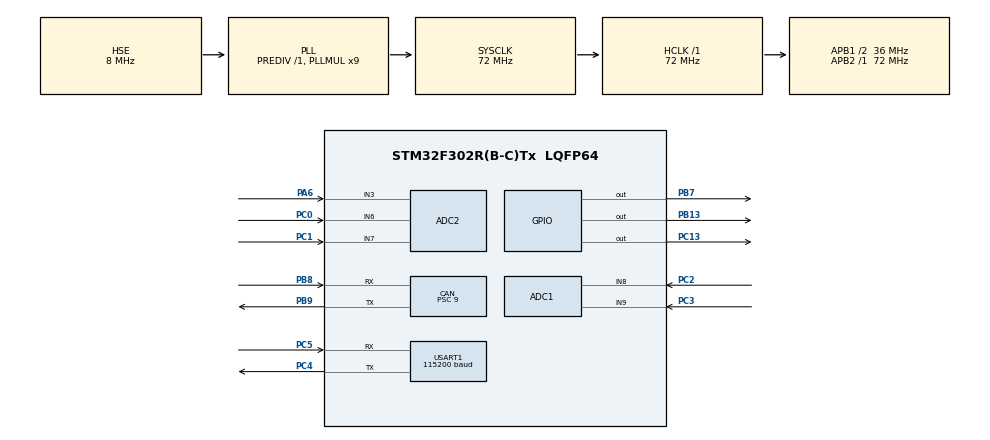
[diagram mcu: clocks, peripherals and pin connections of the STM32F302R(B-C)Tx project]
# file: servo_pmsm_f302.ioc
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ADC1.Channel-0\#ChannelRegularConversion=ADC_CHANNEL_8
ADC1.NbrOfConversionFlag=1
ADC1.Offset-0\#ChannelRegularConversion=0
ADC1.OffsetNumber-0\#ChannelRegularConversion=ADC_OFFSET_NONE
ADC1.Rank-0\#ChannelRegularConversion=1
ADC1.SamplingTime-0\#ChannelRegularConversion=ADC_SAMPLETIME_1CYCLE_5
ADC1.master=1
ADC2.Channel-0\#ChannelRegularConversion=ADC_CHANNEL_3
ADC2.NbrOfConversionFlag=1
ADC2.Offset-0\#ChannelRegularConversion=0
ADC2.OffsetNumber-0\#ChannelRegularConversion=ADC_OFFSET_NONE
ADC2.Rank-0\#ChannelRegularConversion=1
ADC2.SamplingTime-0\#ChannelRegularConversion=ADC_SAMPLETIME_1CYCLE_5
CAN.BS1=CAN_BS1_2TQ
CAN.CalculateTimeQuantum=250.0
CAN.Mode=CAN_MODE_NORMAL
CAN.Prescaler=9
CAN.SJW=CAN_SJW_1TQ
Dma.Request0=USART1_RX
Dma.Request1=USART1_TX
Dma.USART1_RX.0.Direction=DMA_PERIPH_TO_MEMORY
Dma.USART1_RX.0.Instance=DMA1_Channel5
Dma.USART1_RX.0.MemDataAlignment=DMA_MDATAALIGN_BYTE
Dma.USART1_RX.0.MemInc=DMA_MINC_ENABLE
Dma.USART1_RX.0.Mode=DMA_NORMAL
Dma.USART1_RX.0.PeriphDataAlignment=DMA_PDATAALIGN_BYTE
Dma.USART1_RX.0.PeriphInc=DMA_PINC_DISABLE
Dma.USART1_RX.0.Priority=DMA_PRIORITY_MEDIUM
Dma.USART1_TX.1.Direction=DMA_MEMORY_TO_PERIPH
Dma.USART1_TX.1.Instance=DMA1_Channel4
Dma.USART1_TX.1.MemDataAlignment=DMA_MDATAALIGN_BYTE
Dma.USART1_TX.1.MemInc=DMA_MINC_ENABLE
Dma.USART1_TX.1.Mode=DMA_NORMAL
Dma.USART1_TX.1.PeriphDataAlignment=DMA_PDATAALIGN_BYTE
Dma.USART1_TX.1.PeriphInc=DMA_PINC_DISABLE
Dma.USART1_TX.1.Priority=DMA_PRIORITY_LOW
Mcu.Family=STM32F3
Mcu.Name=STM32F302R(B-C)Tx
Mcu.Package=LQFP64
NVIC.PriorityGroup=NVIC_PRIORITYGROUP_4
PA13.Mode=Serial_Wire
PA13.Signal=SYS_JTMS-SWDIO
PA14.Mode=Serial_Wire
PA14.Signal=SYS_JTCK-SWCLK
PA6.Mode=IN3-Single-Ended
PA6.Signal=ADC2_IN3
PB13.Signal=GPIO_Output
PB7.Signal=GPIO_Output
PB8.Mode=Master
PB8.Signal=CAN_RX
PB9.Mode=Master
PB9.Signal=CAN_TX
PC0.Signal=ADCx_IN6
PC1.Signal=ADCx_IN7
PC13.GPIO_ModeDefaultOutputPP=GPIO_MODE_OUTPUT_OD
PC13.GPIO_PuPd=GPIO_PULLUP
PC13.PinState=GPIO_PIN_SET
PC13.Signal=GPIO_Output
PC14-OSC32_IN.Mode=LSE-External-Oscillator
PC14-OSC32_IN.Signal=RCC_OSC32_IN
PC15-OSC32_OUT.Mode=LSE-External-Oscillator
PC15-OSC32_OUT.Signal=RCC_OSC32_OUT
PC2.Signal=ADCx_IN8
PC3.Signal=ADCx_IN9
PC4.Mode=Asynchronous
PC4.Signal=USART1_TX
PC5.GPIO_ModeDefaultPP=GPIO_MODE_AF_OD
PC5.GPIO_PuPd=GPIO_PULLUP
PC5.Mode=Asynchronous
PC5.Signal=USART1_RX
PF0-OSC_IN.Mode=HSE-External-Oscillator
PF0-OSC_IN.Signal=RCC_OSC_IN
PF1-OSC_OUT.Mode=HSE-External-Oscillator
PF1-OSC_OUT.Signal=RCC_OSC_OUT
ProjectManager.HeapSize=0x200
ProjectManager.StackSize=0x400
ProjectManager.TargetToolchain=MDK-ARM V5.27
RCC.AHBFreq_Value=72000000
RCC.APB1CLKDivider=RCC_HCLK_DIV2
RCC.APB1Freq_Value=36000000
RCC.APB1TimFreq_Value=72000000
RCC.APB2Freq_Value=72000000
RCC.APB2TimFreq_Value=72000000
RCC.CortexFreq_Value=72000000
RCC.HCLKFreq_Value=72000000
RCC.HSE_VALUE=8000000
RCC.HSI_VALUE=8000000
RCC.PLLMUL=RCC_PLL_MUL9
RCC.PLLSourceVirtual=RCC_PLLSOURCE_HSE
RCC.SYSCLKFreq_VALUE=72000000
RCC.SYSCLKSourceVirtual=RCC_SYSCLKSOURCE_PLLCLK
RCC.USBFreq_Value=72000000
RCC.Usart1ClockSelection=RCC_USART1CLKSOURCE_SYSCLK
SH.ADCx_IN6.0=ADC2_IN6,IN6-Single-Ended
SH.ADCx_IN7.0=ADC2_IN7,IN7-Single-Ended
SH.ADCx_IN8.0=ADC1_IN8,IN8-Single-Ended
SH.ADCx_IN9.0=ADC1_IN9,IN9-Single-Ended
TIM2.AutoReloadPreload=TIM_AUTORELOAD_PRELOAD_ENABLE
TIM2.ClockDivision=TIM_CLOCKDIVISION_DIV2
TIM2.Period=0xFFFFFFFF
TIM2.Prescaler=71
TIM2.TIM_MasterOutputTrigger=TIM_TRGO_UPDATE
USART1.BaudRate=115200
USART1.DMADisableonRxErrorParam=ADVFEATURE_DMA_DISABLEONRXERROR
USART1.MSBFirstParam=ADVFEATURE_MSBFIRST_DISABLE
USART1.OverSampling=UART_OVERSAMPLING_8
USART1.OverrunDisableParam=ADVFEATURE_OVERRUN_DISABLE
USART1.Parity=PARITY_NONE
USART1.SwapParam=ADVFEATURE_SWAP_DISABLE
USART1.VirtualMode-Asynchronous=VM_ASYNC
USART1.WordLength=WORDLENGTH_8B
VP_ADC1_TempSens_Input.Mode=IN-TempSens
VP_TIM2_VS_ClockSourceINT.Mode=Internal
board=custom

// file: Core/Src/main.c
/* USER CODE BEGIN Header */
/**
  ******************************************************************************
  * @file           : main.c
  * @brief          : Main program body
  ******************************************************************************
  * @attention
  *
  * <h2><center>&copy; Copyright (c) 2020 STMicroelectronics.
  * All rights reserved.</center></h2>
  *
  * This software component is licensed by ST under BSD 3-Clause license,
  * the "License"; You may not use this file except in compliance with the
  * License. You may obtain a copy of the License at:
  *                        opensource.org/licenses/BSD-3-Clause
  *
  ******************************************************************************
  */
/* USER CODE END Header */
#include "main.h"

ADC_HandleTypeDef hadc1;
ADC_HandleTypeDef hadc2;

CAN_HandleTypeDef hcan;

TIM_HandleTypeDef htim2;

UART_HandleTypeDef huart1;
DMA_HandleTypeDef hdma_usart1_rx;
DMA_HandleTypeDef hdma_usart1_tx;

/* USER CODE BEGIN PV */

uint8_t dmaRxBuf[10],dmaTxBuf[10],cnt = 0;
uint8_t testBuf[10] = {0xa1,0xa2,0xa3,0xa4,0xa5,0xa6,0xa7,0xa8,0xa9,0xaa};

uint8_t canRxBuf[8] = {0};
//uint8_t canTxBuf[8] = {0x11, 0x22, 0x33, 0x44, 0x55, 0x66, 0x77, 0x88};

uint8_t canTxBuf1[8];
uint8_t canTxBuf2[8];

uint32_t i = 0 ,j = 0;

int speed1, speed2;
uint16_t data1, data2;

int16_t tem;
int32_t   motorThrottleG = 0;
uint32_t  motorThrottleTemG = 0;
float testAngleG  = 0.0000001f;

CAN_RxHeaderTypeDef canRxG =
{
	0x7FE,	/*!< Specifies the standard identifier.
                          This parameter must be a number between Min_Data = 0 and Max_Data = 0x7FF. */

	0x1FFFFFFF,    /*!< Specifies the extended identifier.
                          This parameter must be a number between Min_Data = 0 and Max_Data = 0x1FFFFFFF. */

	CAN_ID_STD,      /*!< Specifies the type of identifier for the message that will be transmitted.
                          This parameter can be a value of @ref CAN_identifier_type */

	CAN_RTR_DATA,     /*!< Specifies the type of frame for the message that will be transmitted.
                          This parameter can be a value of @ref CAN_remote_transmission_request */

	8,      /*!< Specifies the length of the frame that will be transmitted.
                          This parameter must be a number between Min_Data = 0 and Max_Data = 8. */

	0xFFFF, /*!< Specifies the timestamp counter value captured on start of frame reception.
                          @note: Time Triggered Communication Mode must be enabled.
                          This parameter must be a number between Min_Data = 0 and Max_Data = 0xFFFF. */

	0xFF /*!< Specifies the index of matching acceptance filter element.
                          This parameter must be a number between Min_Data = 0 and Max_Data = 0xFF. */
};
CAN_TxHeaderTypeDef canTxG =
{
	0x7FE,	/*!< Specifies the standard identifier.
                          This parameter must be a number between Min_Data = 0 and Max_Data = 0x7FF. */

	0x1FFFFFFF,    /*!< Specifies the extended identifier.
                          This parameter must be a number between Min_Data = 0 and Max_Data = 0x1FFFFFFF. */

	CAN_ID_STD,      /*!< Specifies the type of identifier for the message that will be transmitted.
                          This parameter can be a value of @ref CAN_identifier_type */

	CAN_RTR_DATA,     /*!< Specifies the type of frame for the message that will be transmitted.
                          This parameter can be a value of @ref CAN_remote_transmission_request */

	8,      /*!< Specifies the length of the frame that will be transmitted.
                          This parameter must be a number between Min_Data = 0 and Max_Data = 8. */

  DISABLE /*!< Specifies whether the timestamp counter value captured on start
                          of frame transmission, is sent in DATA6 and DATA7 replacing pData[6] and pData[7].
                          @note: Time Triggered Communication Mode must be enabled.
                          @note: DLC must be programmed as 8 bytes, in order these 2 bytes are sent.
                          This parameter can be set to ENABLE or DISABLE. */
};
/* USER CODE END PV */

void SystemClock_Config(void);
static void MX_GPIO_Init(void);
static void MX_DMA_Init(void);
static void MX_USART1_UART_Init(void);
static void MX_TIM2_Init(void);
static void MX_CAN_Init(void);
static void MX_ADC1_Init(void);
static void MX_ADC2_Init(void);

int main(void)
{
  /* USER CODE BEGIN 1 */
	uint8_t sysTaskIndex = 0;
	uint8_t sysTaskState = 0;
	timeTickT userSysTick = {500,1,0,};
  /* USER CODE END 1 */

  /* MCU Configuration--------------------------------------------------------*/

  /* Reset of all peripherals, Initializes the Flash interface and the Systick. */
  HAL_Init();

  /* Configure the system clock */
  SystemClock_Config();

  /* Initialize all configured peripherals */
  MX_GPIO_Init();
  MX_DMA_Init();
  MX_USART1_UART_Init();
  MX_TIM2_Init();
  MX_CAN_Init();
  MX_ADC1_Init();
  MX_ADC2_Init();

  /* Infinite loop */
  /* USER CODE BEGIN WHILE */
	SysTick->CTRL = 0;
	HAL_TIM_Base_Start(&htim2);

	usart1DmaRxInitF(huart1, hdma_usart1_rx, dmaRxBuf, 6);
	usart1DmaTxInitF(huart1, hdma_usart1_tx, testBuf, 6);//dmaTxBuf

	userSysTick.timeCountStart = htim2.Instance->CNT;
	/*##################################################################*/
	speed1 = 100;
	speed2 = -100;

	data1 = speed1;
	data2 = speed2;

	canConfigG[0].dataBuf[0] = 0x23;
	canConfigG[0].dataBuf[1] = 0x00;
	canConfigG[0].dataBuf[2] = 0x20;
	canConfigG[0].dataBuf[3] = 0x01;
	canConfigG[0].dataBuf[4] = (data1 & 0x00ff);
	canConfigG[0].dataBuf[5] = ((data1 >> 8) & 0x00ff);
	canConfigG[0].dataBuf[6] = 0x00;
	canConfigG[0].dataBuf[7] = 0x00;

	canConfigG[2].dataBuf[0] = 0x23;
	canConfigG[2].dataBuf[1] = 0x00;
	canConfigG[2].dataBuf[2] = 0x20;
	canConfigG[2].dataBuf[3] = 0x02;
	canConfigG[2].dataBuf[4] = (data2 & 0x00ff);
	canConfigG[2].dataBuf[5] = ((data2 >> 8) & 0x00ff);
	canConfigG[2].dataBuf[6] = 0x00;
	canConfigG[2].dataBuf[7] = 0x00;

	canInitF(&hcan, canConfigG);

  while (1)
  {

		userSysTick.timeCountEnd = htim2.Instance->CNT;
		userSysTick.countTime = userSysTick.timeCountEnd - userSysTick.timeCountStart;
		if(userSysTick.countTime >= userSysTick.timeSetValue)//  500us
		{
			userSysTick.timeCountStart = userSysTick.timeCountEnd;
			//////////////////////////////////////////////////////

			userSysTick.temper = htim2.Instance->CNT;
			/****************************************************************************************
			----------------------  user task schedule begin ----------------------------------------
			****************************************************************************************/
			if(sysTaskState == 0)
			{
				sysTaskState = 1;
				/***************************************************************
					there are some synchronization tasks,schedule period is 1ms
				***************************************************************/
				HAL_GPIO_TogglePin(GPIOB, GPIO_PIN_13);

				usart1DmaRxF(huart1, hdma_usart1_rx, dmaRxBuf, 6);

				usart1DmaTxF(huart1, hdma_usart1_tx, testBuf, 6);

			}
			else
			{
				sysTaskState = 0;
				/***************************************************************
					there are some asynchronization tasks,schedule period is 5ms
				***************************************************************/
				switch(sysTaskIndex)
				{
					case 0:
						CAN->sTxMailBox[0].TIR |= CAN_TI0R_TXRQ;
						userCanPollRoutineF(&hcan);

						// 5ms  task1();
						break;

					case 1:

						// 5ms  task2();
						break;

					case 2:
						ccpCmdF(canConfigG[4].dataBuf);
						// 5ms  task3();
						break;

					case 3:
						CAN->sTxMailBox[2].TIR |= CAN_TI0R_TXRQ;
						userCanPollRoutineF(&hcan);
						break;

					default:
						break;
				}
				sysTaskIndex++;
				if(sysTaskIndex >= 5)
				{
					sysTaskIndex = 0;
				}

			}
			/****************************************************************************************
			----------------------- user task schedule end ------------------------------------------
			****************************************************************************************/

			userSysTick.timeCountEnd = htim2.Instance->CNT;
			userSysTick.monitor = userSysTick.timeCountEnd - userSysTick.temper;
			if(userSysTick.monitor > userSysTick.timeMax)
			{
				userSysTick.timeMax = userSysTick.monitor;
			}
			else
			{
			}
			((uint32_t*)canConfigG[1].dataBuf)[0] = userSysTick.timeMax;

		}
		else
		{

		}

    /* USER CODE END WHILE */

  }
}

void SystemClock_Config(void)
{
  RCC_OscInitTypeDef RCC_OscInitStruct = {0};
  RCC_ClkInitTypeDef RCC_ClkInitStruct = {0};
  RCC_PeriphCLKInitTypeDef PeriphClkInit = {0};

  /** Initializes the RCC Oscillators according to the specified parameters
  * in the RCC_OscInitTypeDef structure.
  */
  RCC_OscInitStruct.OscillatorType = RCC_OSCILLATORTYPE_HSE;
  RCC_OscInitStruct.HSEState = RCC_HSE_ON;
  RCC_OscInitStruct.HSEPredivValue = RCC_HSE_PREDIV_DIV1;
  RCC_OscInitStruct.HSIState = RCC_HSI_ON;
  RCC_OscInitStruct.PLL.PLLState = RCC_PLL_ON;
  RCC_OscInitStruct.PLL.PLLSource = RCC_PLLSOURCE_HSE;
  RCC_OscInitStruct.PLL.PLLMUL = RCC_PLL_MUL9;
  if (HAL_RCC_OscConfig(&RCC_OscInitStruct) != HAL_OK)
  {
    Error_Handler();
  }
  /** Initializes the CPU, AHB and APB buses clocks
  */
  RCC_ClkInitStruct.ClockType = RCC_CLOCKTYPE_HCLK|RCC_CLOCKTYPE_SYSCLK
                              |RCC_CLOCKTYPE_PCLK1|RCC_CLOCKTYPE_PCLK2;
  RCC_ClkInitStruct.SYSCLKSource = RCC_SYSCLKSOURCE_PLLCLK;
  RCC_ClkInitStruct.AHBCLKDivider = RCC_SYSCLK_DIV1;
  RCC_ClkInitStruct.APB1CLKDivider = RCC_HCLK_DIV2;
  RCC_ClkInitStruct.APB2CLKDivider = RCC_HCLK_DIV1;

  if (HAL_RCC_ClockConfig(&RCC_ClkInitStruct, FLASH_LATENCY_2) != HAL_OK)
  {
    Error_Handler();
  }
  PeriphClkInit.PeriphClockSelection = RCC_PERIPHCLK_USART1|RCC_PERIPHCLK_ADC12;
  PeriphClkInit.Usart1ClockSelection = RCC_USART1CLKSOURCE_SYSCLK;
  PeriphClkInit.Adc12ClockSelection = RCC_ADC12PLLCLK_DIV1;
  if (HAL_RCCEx_PeriphCLKConfig(&PeriphClkInit) != HAL_OK)
  {
    Error_Handler();
  }
}

static void MX_ADC1_Init(void)
{

  ADC_MultiModeTypeDef multimode = {0};
  ADC_ChannelConfTypeDef sConfig = {0};

  /** Common config
  */
  hadc1.Instance = ADC1;
  hadc1.Init.ClockPrescaler = ADC_CLOCK_ASYNC_DIV1;
  hadc1.Init.Resolution = ADC_RESOLUTION_12B;
  hadc1.Init.ScanConvMode = ADC_SCAN_DISABLE;
  hadc1.Init.ContinuousConvMode = DISABLE;
  hadc1.Init.DiscontinuousConvMode = DISABLE;
  hadc1.Init.ExternalTrigConvEdge = ADC_EXTERNALTRIGCONVEDGE_NONE;
  hadc1.Init.ExternalTrigConv = ADC_SOFTWARE_START;
  hadc1.Init.DataAlign = ADC_DATAALIGN_RIGHT;
  hadc1.Init.NbrOfConversion = 1;
  hadc1.Init.DMAContinuousRequests = DISABLE;
  hadc1.Init.EOCSelection = ADC_EOC_SINGLE_CONV;
  hadc1.Init.LowPowerAutoWait = DISABLE;
  hadc1.Init.Overrun = ADC_OVR_DATA_OVERWRITTEN;
  if (HAL_ADC_Init(&hadc1) != HAL_OK)
  {
    Error_Handler();
  }
  /** Configure the ADC multi-mode
  */
  multimode.Mode = ADC_MODE_INDEPENDENT;
  if (HAL_ADCEx_MultiModeConfigChannel(&hadc1, &multimode) != HAL_OK)
  {
    Error_Handler();
  }
  /** Configure Regular Channel
  */
  sConfig.Channel = ADC_CHANNEL_8;
  sConfig.Rank = ADC_REGULAR_RANK_1;
  sConfig.SingleDiff = ADC_SINGLE_ENDED;
  sConfig.SamplingTime = ADC_SAMPLETIME_1CYCLE_5;
  sConfig.OffsetNumber = ADC_OFFSET_NONE;
  sConfig.Offset = 0;
  if (HAL_ADC_ConfigChannel(&hadc1, &sConfig) != HAL_OK)
  {
    Error_Handler();
  }

}

static void MX_ADC2_Init(void)
{

  ADC_ChannelConfTypeDef sConfig = {0};

  /** Common config
  */
  hadc2.Instance = ADC2;
  hadc2.Init.ClockPrescaler = ADC_CLOCK_ASYNC_DIV1;
  hadc2.Init.Resolution = ADC_RESOLUTION_12B;
  hadc2.Init.ScanConvMode = ADC_SCAN_DISABLE;
  hadc2.Init.ContinuousConvMode = DISABLE;
  hadc2.Init.DiscontinuousConvMode = DISABLE;
  hadc2.Init.ExternalTrigConvEdge = ADC_EXTERNALTRIGCONVEDGE_NONE;
  hadc2.Init.ExternalTrigConv = ADC_SOFTWARE_START;
  hadc2.Init.DataAlign = ADC_DATAALIGN_RIGHT;
  hadc2.Init.NbrOfConversion = 1;
  hadc2.Init.DMAContinuousRequests = DISABLE;
  hadc2.Init.EOCSelection = ADC_EOC_SINGLE_CONV;
  hadc2.Init.LowPowerAutoWait = DISABLE;
  hadc2.Init.Overrun = ADC_OVR_DATA_OVERWRITTEN;
  if (HAL_ADC_Init(&hadc2) != HAL_OK)
  {
    Error_Handler();
  }
  /** Configure Regular Channel
  */
  sConfig.Channel = ADC_CHANNEL_3;
  sConfig.Rank = ADC_REGULAR_RANK_1;
  sConfig.SingleDiff = ADC_SINGLE_ENDED;
  sConfig.SamplingTime = ADC_SAMPLETIME_1CYCLE_5;
  sConfig.OffsetNumber = ADC_OFFSET_NONE;
  sConfig.Offset = 0;
  if (HAL_ADC_ConfigChannel(&hadc2, &sConfig) != HAL_OK)
  {
    Error_Handler();
  }

}

static void MX_CAN_Init(void)
{

  hcan.Instance = CAN;
  hcan.Init.Prescaler = 9;
  hcan.Init.Mode = CAN_MODE_NORMAL;//   CAN_MODE_LOOPBACK   CAN_MODE_NORMAL
  hcan.Init.SyncJumpWidth = CAN_SJW_1TQ;
  hcan.Init.TimeSeg1 = CAN_BS1_2TQ;
  hcan.Init.TimeSeg2 = CAN_BS2_1TQ;
  hcan.Init.TimeTriggeredMode = DISABLE;
  hcan.Init.AutoBusOff = DISABLE;
  hcan.Init.AutoWakeUp = DISABLE;
  hcan.Init.AutoRetransmission = DISABLE;
  hcan.Init.ReceiveFifoLocked = DISABLE;
  hcan.Init.TransmitFifoPriority = DISABLE;
  if (HAL_CAN_Init(&hcan) != HAL_OK)
  {
    Error_Handler();
  }

}

static void MX_TIM2_Init(void)
{

  TIM_ClockConfigTypeDef sClockSourceConfig = {0};
  TIM_MasterConfigTypeDef sMasterConfig = {0};

  htim2.Instance = TIM2;
  htim2.Init.Prescaler = 71;
  htim2.Init.CounterMode = TIM_COUNTERMODE_UP;
  htim2.Init.Period = 0xFFFFFFFF;
  htim2.Init.ClockDivision = TIM_CLOCKDIVISION_DIV2;
  htim2.Init.AutoReloadPreload = TIM_AUTORELOAD_PRELOAD_ENABLE;
  if (HAL_TIM_Base_Init(&htim2) != HAL_OK)
  {
    Error_Handler();
  }
  sClockSourceConfig.ClockSource = TIM_CLOCKSOURCE_INTERNAL;
  if (HAL_TIM_ConfigClockSource(&htim2, &sClockSourceConfig) != HAL_OK)
  {
    Error_Handler();
  }
  sMasterConfig.MasterOutputTrigger = TIM_TRGO_UPDATE;
  sMasterConfig.MasterSlaveMode = TIM_MASTERSLAVEMODE_DISABLE;
  if (HAL_TIMEx_MasterConfigSynchronization(&htim2, &sMasterConfig) != HAL_OK)
  {
    Error_Handler();
  }
  /* USER CODE BEGIN TIM2_Init 2 */
	HAL_TIM_Base_Start(&htim2);
  /* USER CODE END TIM2_Init 2 */

}

static void MX_USART1_UART_Init(void)
{

  huart1.Instance = USART1;
  huart1.Init.BaudRate = 115200;
  huart1.Init.WordLength = UART_WORDLENGTH_8B;
  huart1.Init.StopBits = UART_STOPBITS_1;
  huart1.Init.Parity = UART_PARITY_NONE;
  huart1.Init.Mode = UART_MODE_TX_RX;
  huart1.Init.HwFlowCtl = UART_HWCONTROL_NONE;
  huart1.Init.OverSampling = UART_OVERSAMPLING_8;
  huart1.Init.OneBitSampling = UART_ONE_BIT_SAMPLE_DISABLE;
  huart1.AdvancedInit.AdvFeatureInit = UART_ADVFEATURE_RXOVERRUNDISABLE_INIT|UART_ADVFEATURE_DMADISABLEONERROR_INIT;
  huart1.AdvancedInit.OverrunDisable = UART_ADVFEATURE_OVERRUN_DISABLE;
  huart1.AdvancedInit.DMADisableonRxError = UART_ADVFEATURE_DMA_DISABLEONRXERROR;
  if (HAL_UART_Init(&huart1) != HAL_OK)
  {
    Error_Handler();
  }

}

static void MX_DMA_Init(void)
{

  /* DMA controller clock enable */
  __HAL_RCC_DMA1_CLK_ENABLE();

}

static void MX_GPIO_Init(void)
{
  GPIO_InitTypeDef GPIO_InitStruct = {0};

  /* GPIO Ports Clock Enable */
  __HAL_RCC_GPIOC_CLK_ENABLE();
  __HAL_RCC_GPIOF_CLK_ENABLE();
  __HAL_RCC_GPIOA_CLK_ENABLE();
  __HAL_RCC_GPIOB_CLK_ENABLE();

  /*Configure GPIO pin Output Level */
  HAL_GPIO_WritePin(GPIOC, GPIO_PIN_13, GPIO_PIN_SET);

  /*Configure GPIO pin Output Level */
  HAL_GPIO_WritePin(GPIOB, GPIO_PIN_13|GPIO_PIN_7, GPIO_PIN_RESET);

  /*Configure GPIO pin : PC13 */
  GPIO_InitStruct.Pin = GPIO_PIN_13;
  GPIO_InitStruct.Mode = GPIO_MODE_OUTPUT_OD;
  GPIO_InitStruct.Pull = GPIO_PULLUP;
  GPIO_InitStruct.Speed = GPIO_SPEED_FREQ_LOW;
  HAL_GPIO_Init(GPIOC, &GPIO_InitStruct);

  /*Configure GPIO pins : PB13 PB7 */
  GPIO_InitStruct.Pin = GPIO_PIN_13|GPIO_PIN_7;
  GPIO_InitStruct.Mode = GPIO_MODE_OUTPUT_PP;
  GPIO_InitStruct.Pull = GPIO_NOPULL;
  GPIO_InitStruct.Speed = GPIO_SPEED_FREQ_LOW;
  HAL_GPIO_Init(GPIOB, &GPIO_InitStruct);

}

void Error_Handler(void)
{
}

/************************ (C) COPYRIGHT STMicroelectronics *****END OF FILE****/
